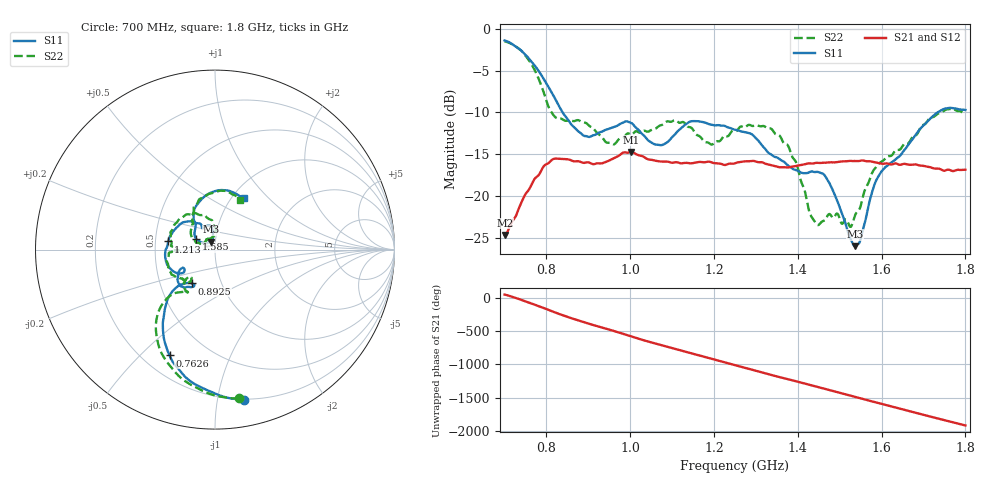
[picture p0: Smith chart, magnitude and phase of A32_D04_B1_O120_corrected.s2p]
! Created with skrf 1.9.0 (http://scikit-rf.org).
# Hz S RI R 50.0
!freq ReS11 ImS11 ReS21 ImS21 ReS12 ImS12 ReS22 ImS22
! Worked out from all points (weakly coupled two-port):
!   1601 points, 700 MHz to 1.8 GHz, reference 50 ohm
!   highest |S21| = -14.71 dB at 1.002 GHz (marker M1); lowest = -24.6 dB at 700.7 MHz (marker M2)
!   lowest |S11| = -26.0 dB at 1.537 GHz (marker M3), VSWR 1.11, Z = 47.6 + j4.26 ohm
!   |S11| at or under -10 dB: 838.5 MHz to 1.733 GHz (895 MHz wide, 69.6 % of centre)
!   |S22| runs from -23.7 to -1.5 dB; largest |S21 - S12| = 0.0033
!   S11 on the Smith chart (normalised r, x): 700 MHz: 0.20, -1.19; 762.6 MHz: 0.31, -0.61; 892.5 MHz: 0.72, -0.29; 1.213 GHz: 0.58, +0.06; 1.585 GHz: 0.80, +0.10; 1.8 GHz: 1.14, +0.73
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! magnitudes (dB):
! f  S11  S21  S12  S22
! 700 MHz  -1.4  -24.6  -24.4  -1.5
! 700.7 MHz  -1.4  -24.6  -24.3  -1.5
! 762.6 MHz  -3.8  -18.8  -18.8  -4.1
! 818.2 MHz  -8.1  -15.5  -15.6  -10.4
! 883.6 MHz  -12.6  -16.0  -15.9  -11.1
! 892.5 MHz  -12.8  -16.0  -16.1  -11.2
! 957.1 MHz  -11.8  -15.6  -15.6  -13.8
! 1.002 GHz  -11.3  -14.7  -14.8  -12.7
! 1.067 GHz  -13.9  -15.8  -15.8  -11.7
! 1.144 GHz  -11.1  -16.1  -16.1  -11.8
! 1.213 GHz  -11.5  -16.1  -16.1  -13.4
! 1.25 GHz  -12.1  -16.1  -16.0  -12.2
! 1.357 GHz  -15.6  -16.5  -16.5  -12.8
! 1.396 GHz  -16.9  -16.4  -16.4  -15.9
! 1.434 GHz  -17.0  -16.1  -16.1  -22.6
! 1.471 GHz  -18.1  -16.0  -16.0  -22.3
! 1.537 GHz  -26.0  -15.8  -15.8  -22.3
! 1.55 GHz  -25.2  -15.8  -15.8  -21.2
! 1.585 GHz  -18.4  -16.0  -16.0  -16.7
! 1.617 GHz  -16.2  -16.1  -16.1  -15.2
! 1.731 GHz  -10.1  -16.7  -16.7  -10.3
! 1.8 GHz  -9.7  -16.8  -16.8  -10.2
